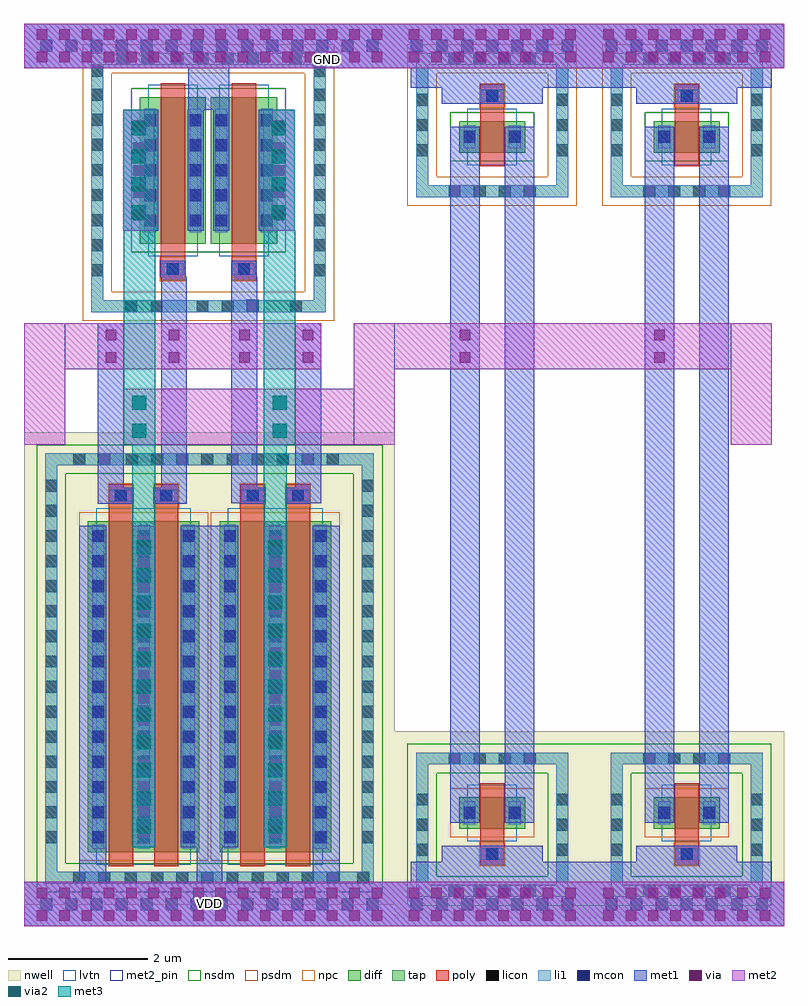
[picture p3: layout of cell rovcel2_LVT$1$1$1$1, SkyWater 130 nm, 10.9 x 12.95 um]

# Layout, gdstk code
from math import pi, radians
import gdstk
lib = gdstk.Library(unit=1e-6, precision=1e-09)
def R(c, l, rs):  # rectangles x0, y0, x1, y1
    for r in rs: c.add(gdstk.rectangle(r[:2], r[2:], *l))
def A(c, l, x, y, w, h, nx, ny, dx, dy):  # array of equal rectangles
    R(c, l, [(x+i*dx, y+j*dy, x+i*dx+w, y+j*dy+h) for i in range(nx) for j in range(ny)])
def P(c, l, *ps):  # polygons
    for p in ps: c.add(gdstk.Polygon(p, *l))
nwell = (64, 20)
diff = (65, 20)
tap = (65, 44)
poly = (66, 20)
licon = (66, 44)
li1 = (67, 20)
mcon = (67, 44)
met1 = (68, 20)
via = (68, 44)
met2_pin = (69, 16)
met2 = (69, 20)
via2 = (69, 44)
met3 = (70, 20)
nsdm = (93, 44)
psdm = (94, 20)
npc = (95, 20)
lvtn = (125, 44)

vias_gen_7_3_1_1_1_1 = lib.new_cell('vias_gen$7$3$1$1$1$1')

nfet_2_3_1_1_1_1 = lib.new_cell('nfet$2$3$1$1$1$1')

vias_gen_44_1_1_1_1 = lib.new_cell('vias_gen$44$1$1$1$1')

vias_gen_17_1_1_1_1 = lib.new_cell('vias_gen$17$1$1$1$1')
R(vias_gen_17_1_1_1_1, li1, [(0,0,2.79,0.64)])
A(vias_gen_17_1_1_1_1, mcon, 0.23, 0.235, 0.17, 0.17, 7, 1, 0.36, 0)
R(vias_gen_17_1_1_1_1, met1, [(0,0,2.79,0.64)])
A(vias_gen_17_1_1_1_1, via, 0.2, 0.085, 0.15, 0.15, 8, 2, 0.32, 0.32)
R(vias_gen_17_1_1_1_1, met2, [(0,0,2.79,0.64)])

vias_gen_15_1_1_1_1 = lib.new_cell('vias_gen$15$1$1$1$1')
R(vias_gen_15_1_1_1_1, li1, [(0,0,5.32,0.64)])
A(vias_gen_15_1_1_1_1, mcon, 0.235, 0.235, 0.17, 0.17, 14, 1, 0.36, 0)
R(vias_gen_15_1_1_1_1, met1, [(0,0,5.32,0.64)])
A(vias_gen_15_1_1_1_1, via, 0.185, 0.085, 0.15, 0.15, 16, 2, 0.32, 0.32)
R(vias_gen_15_1_1_1_1, met2, [(0,0,5.32,0.64)])

vias_gen_8_1_1_1_1 = lib.new_cell('vias_gen$8$1$1$1$1')
R(vias_gen_8_1_1_1_1, met1, [(0,0,0.66,0.42)])
R(vias_gen_8_1_1_1_1, via, [(0.095,0.135,0.245,0.285), (0.415,0.135,0.565,0.285)])
R(vias_gen_8_1_1_1_1, met2, [(0,0,0.66,0.42)])

pfet_5_1_1_1_1_1 = lib.new_cell('pfet$5$1$1$1$1$1')
R(pfet_5_1_1_1_1_1, nwell, [(-0.92,-0.945,1.87,1.735)])
R(pfet_5_1_1_1_1_1, diff, [(0,0,0.95,0.45)])
P(pfet_5_1_1_1_1_1, tap, [(-0.615,-0.64),(-0.615,1.26),(-0.445,1.26),(-0.445,-0.47),(1.395,-0.47),(1.395,1.26),(-0.615,1.26),(-0.615,1.43),(1.565,1.43),(1.565,-0.64)])
R(pfet_5_1_1_1_1_1, poly, [(0.3,-0.2,0.65,0.65), (0.3,0.65,0.65,0.98)])
A(pfet_5_1_1_1_1_1, licon, -0.15, -0.64, 0.17, 0.17, 4, 2, 0.36, 1.9)
A(pfet_5_1_1_1_1_1, licon, -0.615, -0.05, 0.17, 0.17, 1, 3, 0, 0.36)
A(pfet_5_1_1_1_1_1, licon, 1.395, -0.05, 0.17, 0.17, 1, 3, 0, 0.36)
R(pfet_5_1_1_1_1_1, licon, [(0.065,0.14,0.235,0.31), (0.715,0.14,0.885,0.31), (0.39,0.73,0.56,0.9)])
R(pfet_5_1_1_1_1_1, li1, [(0.065,0.06,0.235,0.39), (0.715,0.06,0.885,0.39), (0.31,0.73,0.64,0.9)])
P(pfet_5_1_1_1_1_1, li1, [(-0.615,-0.64),(-0.615,1.26),(-0.445,1.26),(-0.445,-0.47),(1.395,-0.47),(1.395,1.26),(-0.615,1.26),(-0.615,1.43),(1.565,1.43),(1.565,-0.64)])
R(pfet_5_1_1_1_1_1, mcon, [(0.065,0.14,0.235,0.31), (0.715,0.14,0.885,0.31), (0.39,0.73,0.56,0.9)])
R(pfet_5_1_1_1_1_1, met1, [(0.005,0.08,0.295,0.37), (0.655,0.08,0.945,0.37), (0.29,0.7,0.66,0.93)])
P(pfet_5_1_1_1_1_1, nsdm, [(-0.74,-0.765),(-0.74,1.135),(-0.32,1.135),(-0.32,-0.345),(1.27,-0.345),(1.27,1.135),(-0.74,1.135),(-0.74,1.555),(1.69,1.555),(1.69,-0.765)])
R(pfet_5_1_1_1_1_1, psdm, [(-0.125,-0.125,1.075,0.575)])
R(pfet_5_1_1_1_1_1, npc, [(0.29,0.64,0.66,0.99)])
R(pfet_5_1_1_1_1_1, lvtn, [(0.12,-0.18,0.83,0.63)])

vias_gen_12_3_1_1_1_1 = lib.new_cell('vias_gen$12$3$1$1$1$1')
R(vias_gen_12_3_1_1_1_1, met2, [(0,0,0.45,0.8)])
R(vias_gen_12_3_1_1_1_1, via2, [(0.125,0.1,0.325,0.3), (0.125,0.5,0.325,0.7)])
R(vias_gen_12_3_1_1_1_1, met3, [(0,0,0.45,0.8)])

vias_gen_13_1_1_1_1 = lib.new_cell('vias_gen$13$1$1$1$1')
R(vias_gen_13_1_1_1_1, met1, [(0,0,4.61,0.33)])
A(vias_gen_13_1_1_1_1, via, 0.15, 0.09, 0.15, 0.15, 14, 1, 0.32, 0)
R(vias_gen_13_1_1_1_1, met2, [(0,0,4.61,0.33)])
A(vias_gen_13_1_1_1_1, via2, 0.205, 0.065, 0.2, 0.2, 11, 1, 0.4, 0)
R(vias_gen_13_1_1_1_1, met3, [(0,0,4.61,0.33)])

pfet_4_3_1_1_1_1 = lib.new_cell('pfet$4$3$1$1$1$1')
R(pfet_4_3_1_1_1_1, nwell, [(-0.305,-0.72,1.255,5.13)])
R(pfet_4_3_1_1_1_1, diff, [(0,0,0.95,4.75)])
R(pfet_4_3_1_1_1_1, poly, [(0.3,-0.53,0.65,-0.2), (0.3,-0.2,0.65,4.95)])
A(pfet_4_3_1_1_1_1, licon, 0.065, 0.13, 0.17, 0.17, 1, 13, 0, 0.36)
A(pfet_4_3_1_1_1_1, licon, 0.715, 0.13, 0.17, 0.17, 1, 13, 0, 0.36)
R(pfet_4_3_1_1_1_1, licon, [(0.39,-0.45,0.56,-0.28)])
R(pfet_4_3_1_1_1_1, li1, [(0.31,-0.45,0.64,-0.28), (0.065,0.05,0.235,4.7), (0.715,0.05,0.885,4.7)])
A(pfet_4_3_1_1_1_1, mcon, 0.065, 0.13, 0.17, 0.17, 1, 13, 0, 0.36)
A(pfet_4_3_1_1_1_1, mcon, 0.715, 0.13, 0.17, 0.17, 1, 13, 0, 0.36)
R(pfet_4_3_1_1_1_1, mcon, [(0.39,-0.45,0.56,-0.28)])
R(pfet_4_3_1_1_1_1, met1, [(0.29,-0.48,0.66,-0.25), (0.035,0.07,0.265,4.68), (0.685,0.07,0.915,4.68)])
R(pfet_4_3_1_1_1_1, psdm, [(-0.125,-0.125,1.075,4.875)])
R(pfet_4_3_1_1_1_1, npc, [(0.29,-0.54,0.66,-0.19)])
R(pfet_4_3_1_1_1_1, lvtn, [(0.12,-0.18,0.83,4.93)])

vias_gen_14_1_1_1_1 = lib.new_cell('vias_gen$14$1$1$1$1')
R(vias_gen_14_1_1_1_1, met1, [(0,0,0.37,0.66)])
R(vias_gen_14_1_1_1_1, via, [(0.11,0.095,0.26,0.245), (0.11,0.415,0.26,0.565)])
R(vias_gen_14_1_1_1_1, met2, [(0,0,0.37,0.66)])

nfet_7_1_1_1_1 = lib.new_cell('nfet$7$1$1$1$1')
R(nfet_7_1_1_1_1, diff, [(0,0,0.95,2.1)])
R(nfet_7_1_1_1_1, poly, [(0.3,-0.2,0.65,2.3), (0.3,2.3,0.65,2.63)])
A(nfet_7_1_1_1_1, licon, 0.065, 0.245, 0.17, 0.17, 1, 5, 0, 0.36)
A(nfet_7_1_1_1_1, licon, 0.715, 0.245, 0.17, 0.17, 1, 5, 0, 0.36)
R(nfet_7_1_1_1_1, licon, [(0.39,2.38,0.56,2.55)])
R(nfet_7_1_1_1_1, li1, [(0.065,0.165,0.235,1.935), (0.715,0.165,0.885,1.935), (0.31,2.38,0.64,2.55)])
A(nfet_7_1_1_1_1, mcon, 0.065, 0.245, 0.17, 0.17, 1, 5, 0, 0.36)
A(nfet_7_1_1_1_1, mcon, 0.715, 0.245, 0.17, 0.17, 1, 5, 0, 0.36)
R(nfet_7_1_1_1_1, mcon, [(0.39,2.38,0.56,2.55)])
R(nfet_7_1_1_1_1, met1, [(0.035,0.185,0.265,1.915), (0.685,0.185,0.915,1.915), (0.29,2.35,0.66,2.58)])
R(nfet_7_1_1_1_1, nsdm, [(-0.125,-0.125,1.075,2.225)])
R(nfet_7_1_1_1_1, npc, [(0.29,2.29,0.66,2.64)])
R(nfet_7_1_1_1_1, lvtn, [(0.12,-0.18,0.83,2.28)])

vias_gen_16_3_1_1_1_1 = lib.new_cell('vias_gen$16$3$1$1$1$1')
R(vias_gen_16_3_1_1_1_1, met1, [(0,0,1.73,0.45)])
A(vias_gen_16_3_1_1_1_1, via, 0.15, 0.15, 0.15, 0.15, 5, 1, 0.32, 0)
R(vias_gen_16_3_1_1_1_1, met2, [(0,0,1.73,0.45)])
A(vias_gen_16_3_1_1_1_1, via2, 0.165, 0.125, 0.2, 0.2, 4, 1, 0.4, 0)
R(vias_gen_16_3_1_1_1_1, met3, [(0,0,1.73,0.45)])

nfet_3_1_1_1_1 = lib.new_cell('nfet$3$1$1$1$1')
R(nfet_3_1_1_1_1, diff, [(0,0,0.95,0.45)])
P(nfet_3_1_1_1_1, tap, [(-0.615,-0.98),(-0.615,0.92),(-0.445,0.92),(-0.445,-0.81),(1.395,-0.81),(1.395,0.92),(-0.615,0.92),(-0.615,1.09),(1.565,1.09),(1.565,-0.98)])
R(nfet_3_1_1_1_1, poly, [(0.3,-0.53,0.65,-0.2), (0.3,-0.2,0.65,0.65)])
A(nfet_3_1_1_1_1, licon, -0.15, -0.98, 0.17, 0.17, 4, 2, 0.36, 1.9)
A(nfet_3_1_1_1_1, licon, -0.615, -0.39, 0.17, 0.17, 1, 3, 0, 0.36)
A(nfet_3_1_1_1_1, licon, 1.395, -0.39, 0.17, 0.17, 1, 3, 0, 0.36)
R(nfet_3_1_1_1_1, licon, [(0.39,-0.45,0.56,-0.28), (0.065,0.14,0.235,0.31), (0.715,0.14,0.885,0.31)])
R(nfet_3_1_1_1_1, li1, [(0.31,-0.45,0.64,-0.28), (0.065,0.06,0.235,0.39), (0.715,0.06,0.885,0.39)])
P(nfet_3_1_1_1_1, li1, [(-0.615,-0.98),(-0.615,0.92),(-0.445,0.92),(-0.445,-0.81),(1.395,-0.81),(1.395,0.92),(-0.615,0.92),(-0.615,1.09),(1.565,1.09),(1.565,-0.98)])
R(nfet_3_1_1_1_1, mcon, [(0.39,-0.45,0.56,-0.28), (0.065,0.14,0.235,0.31), (0.715,0.14,0.885,0.31)])
R(nfet_3_1_1_1_1, met1, [(0.29,-0.48,0.66,-0.25), (0.005,0.08,0.295,0.37), (0.655,0.08,0.945,0.37)])
R(nfet_3_1_1_1_1, nsdm, [(-0.125,-0.125,1.075,0.575)])
P(nfet_3_1_1_1_1, psdm, [(-0.74,-1.105),(-0.74,0.795),(-0.32,0.795),(-0.32,-0.685),(1.27,-0.685),(1.27,0.795),(-0.74,0.795),(-0.74,1.215),(1.69,1.215),(1.69,-1.105)])
R(nfet_3_1_1_1_1, npc, [(0.29,-0.54,0.66,-0.19)])
R(nfet_3_1_1_1_1, lvtn, [(0.12,-0.18,0.83,0.63)])

sky130_fd_sc_hd__inv_1_1 = lib.new_cell('sky130_fd_sc_hd__inv_1$1$1$1$1')

vias_gen_2_3_1_1_1_1 = lib.new_cell('vias_gen$2$3$1$1$1$1')

vias_gen_10_3_1_1_1_1 = lib.new_cell('vias_gen$10$3$1$1$1$1')

pfet_2_3_1_1_1_1 = lib.new_cell('pfet$2$3$1$1$1$1')

vias_gen_6_3_1_1_1_1 = lib.new_cell('vias_gen$6$3$1$1$1$1')

rovcel2_lvt_1_1_1_1 = lib.new_cell('rovcel2_LVT$1$1$1$1')
R(rovcel2_lvt_1_1_1_1, nwell, [(-2.45,-0.542,2.87,6.238)])
R(rovcel2_lvt_1_1_1_1, diff, [(-0.73,0.213,-0.575,4.963)])
R(rovcel2_lvt_1_1_1_1, tap, [(-2.145,-0.237,2.565,-0.067), (-2.145,-0.067,-1.975,5.933), (2.395,-0.067,2.565,5.933), (-2.145,5.763,2.395,5.933), (-1.975,5.763,1.915,5.933), (-1.485,7.958,-1.315,11.678), (-1.315,7.958,1.705,8.128), (1.705,7.958,1.875,11.678), (-1.315,11.508,1.705,11.678)])
A(rovcel2_lvt_1_1_1_1, licon, -1.385, -0.237, 0.17, 0.17, 3, 1, 0.38, 0)
A(rovcel2_lvt_1_1_1_1, licon, -0.265, -0.237, 0.17, 0.17, 7, 1, 0.36, 0)
A(rovcel2_lvt_1_1_1_1, licon, -2.145, 0.343, 0.17, 0.17, 1, 15, 0, 0.36)
A(rovcel2_lvt_1_1_1_1, licon, 2.395, 0.343, 0.17, 0.17, 1, 15, 0, 0.36)
A(rovcel2_lvt_1_1_1_1, licon, -0.625, 5.763, 0.17, 0.17, 8, 1, 0.36, 0)
A(rovcel2_lvt_1_1_1_1, licon, -1.485, 8.473, 0.17, 0.17, 1, 8, 0, 0.36)
A(rovcel2_lvt_1_1_1_1, licon, 1.705, 8.473, 0.17, 0.17, 1, 8, 0, 0.36)
A(rovcel2_lvt_1_1_1_1, licon, -0.335, 11.508, 0.17, 0.17, 3, 1, 0.36, 0)
R(rovcel2_lvt_1_1_1_1, licon, [(-1.745,-0.237,-1.575,-0.067), (2.33,-0.237,2.5,-0.067), (-1.745,5.763,-1.575,5.933), (-1.385,5.763,-1.215,5.933), (-0.99,5.763,-0.82,5.933), (-0.99,5.763,-0.82,5.933), (-0.995,7.958,-0.825,8.128), (-0.635,7.958,-0.465,8.128), (0.025,7.958,0.195,8.128), (0.385,7.958,0.555,8.128), (1.365,7.958,1.535,8.128), (0.745,7.963,0.915,8.133), (-1.485,11.338,-1.315,11.508), (1.705,11.338,1.875,11.508), (-1.12,11.508,-0.95,11.678), (-0.76,11.508,-0.59,11.678), (1.355,11.508,1.525,11.678), (0.745,11.513,0.915,11.683)])
R(rovcel2_lvt_1_1_1_1, li1, [(-2.145,-0.237,2.565,-0.067), (-2.145,-0.067,-1.975,5.933), (2.395,-0.067,2.565,5.933), (-2.145,5.763,2.395,5.933), (-1.485,7.958,-1.315,11.678), (-1.315,7.958,1.705,8.128), (1.705,7.958,1.875,11.678), (-0.95,11.458,1.5,11.628), (-1.315,11.508,1.705,11.678)])
R(rovcel2_lvt_1_1_1_1, met1, [(0.03,-0.217,0.39,4.893), (-1.66,-0.212,-1.27,4.893), (1.69,-0.212,2.08,4.893), (3.095,-0.212,8.275,0.073), (3.54,0.073,4.99,0.303), (6.33,0.073,7.78,0.303), (3.665,0.633,4.085,10.618), (4.445,0.633,4.865,10.618), (6.455,0.633,6.875,10.618), (7.235,0.633,7.655,10.618), (-1.39,5.213,-1.02,7.138), (-0.485,5.213,-0.115,7.138), (0.525,5.218,0.895,7.138), (1.44,5.218,1.81,7.138), (-0.485,7.798,-0.115,8.463), (0.525,7.798,0.895,8.463), (-0.095,10.858,0.495,11.463), (3.54,10.948,4.99,11.178), (6.33,10.948,7.78,11.178), (3.095,11.178,8.275,11.458)])
R(rovcel2_lvt_1_1_1_1, met2_pin, [(-2.45,-0.852,2.87,-0.212), (-1.9,-0.852,8.3,-0.212), (2.87,-0.852,5.66,-0.212), (5.66,-0.852,8.45,-0.212), (-2.45,6.058,-1.86,7.798), (2.28,6.058,2.87,7.798), (7.685,6.058,8.275,7.798), (7.685,7.138,8.275,7.798), (-2.45,11.458,2.87,12.098), (2.87,11.458,5.66,12.098), (5.66,11.458,8.45,12.098)])
R(rovcel2_lvt_1_1_1_1, met2, [(-2.45,-0.852,2.87,-0.212), (-2.45,6.058,-1.86,7.138), (-1.02,6.058,2.87,6.858), (7.685,6.058,8.275,7.798), (2.28,6.808,2.87,7.798), (-2.45,7.138,1.81,7.798), (2.87,7.138,8.275,7.798), (-2.45,11.458,2.87,12.098)])
R(rovcel2_lvt_1_1_1_1, met3, [(-0.9,4.893,-0.57,6.058), (0.99,4.893,1.32,6.058), (-1.02,6.808,-0.57,9.128), (0.99,6.808,1.44,9.128)])
R(rovcel2_lvt_1_1_1_1, nsdm, [(5.48,-0.552,5.865,1.768), (-2.27,-0.362,2.695,0.058), (-2.27,0.058,-1.85,5.638), (2.275,0.058,2.695,5.638), (2.275,0.058,2.695,5.638), (-2.27,5.638,2.695,6.058), (-1.87,5.638,2.695,6.058), (-1.87,5.638,2.695,6.058), (-1.87,5.638,2.695,6.058)])
R(rovcel2_lvt_1_1_1_1, psdm, [(-1.61,7.833,-1.19,11.803), (-1.19,7.833,1.58,8.253), (1.58,7.833,2,11.803), (-1.19,11.383,1.58,11.803)])
rovcel2_lvt_1_1_1_1.add(gdstk.Reference(vias_gen_7_3_1_1_1_1, (-5.965,-3.4), rotation=pi/2))
rovcel2_lvt_1_1_1_1.add(gdstk.Reference(vias_gen_7_3_1_1_1_1, (-3.955,-3.4), rotation=pi/2))
rovcel2_lvt_1_1_1_1.add(gdstk.Reference(nfet_2_3_1_1_1_1, (-4.205,-3.585), rotation=pi, x_reflection=True))
rovcel2_lvt_1_1_1_1.add(gdstk.Reference(nfet_2_3_1_1_1_1, (-5.225,-3.585), rotation=pi, x_reflection=True))
rovcel2_lvt_1_1_1_1.add(gdstk.Reference(vias_gen_44_1_1_1_1, (-7.845,-4.64)))
rovcel2_lvt_1_1_1_1.add(gdstk.Reference(vias_gen_17_1_1_1_1, (5.66,-0.212), x_reflection=True))
rovcel2_lvt_1_1_1_1.add(gdstk.Reference(vias_gen_15_1_1_1_1, (-2.45,-0.212), x_reflection=True))
rovcel2_lvt_1_1_1_1.add(gdstk.Reference(vias_gen_17_1_1_1_1, (2.87,-0.212), x_reflection=True))
rovcel2_lvt_1_1_1_1.add(gdstk.Reference(vias_gen_17_1_1_1_1, (2.87,12.098), x_reflection=True))
rovcel2_lvt_1_1_1_1.add(gdstk.Reference(vias_gen_8_1_1_1_1, (4.085,7.798), rotation=3*pi/2, x_reflection=True))
rovcel2_lvt_1_1_1_1.add(gdstk.Reference(vias_gen_8_1_1_1_1, (6.875,7.798), rotation=3*pi/2, x_reflection=True))
rovcel2_lvt_1_1_1_1.add(gdstk.Reference(pfet_5_1_1_1_1_1, (3.79,1.003), x_reflection=True))
rovcel2_lvt_1_1_1_1.add(gdstk.Reference(vias_gen_12_3_1_1_1_1, (0.99,6.858), x_reflection=True))
rovcel2_lvt_1_1_1_1.add(gdstk.Reference(vias_gen_13_1_1_1_1, (1.32,4.893), rotation=3*pi/2, x_reflection=True))
rovcel2_lvt_1_1_1_1.add(gdstk.Reference(pfet_4_3_1_1_1_1, (-1.535,4.963), x_reflection=True))
rovcel2_lvt_1_1_1_1.add(gdstk.Reference(vias_gen_13_1_1_1_1, (-0.57,4.893), rotation=3*pi/2, x_reflection=True))
rovcel2_lvt_1_1_1_1.add(gdstk.Reference(vias_gen_12_3_1_1_1_1, (-1.02,6.858), x_reflection=True))
rovcel2_lvt_1_1_1_1.add(gdstk.Reference(pfet_4_3_1_1_1_1, (1.005,4.963), x_reflection=True))
rovcel2_lvt_1_1_1_1.add(gdstk.Reference(vias_gen_14_1_1_1_1, (0.525,7.798), x_reflection=True))
rovcel2_lvt_1_1_1_1.add(gdstk.Reference(pfet_4_3_1_1_1_1, (-0.885,4.963), x_reflection=True))
rovcel2_lvt_1_1_1_1.add(gdstk.Reference(vias_gen_15_1_1_1_1, (-2.45,12.098), x_reflection=True))
rovcel2_lvt_1_1_1_1.add(gdstk.Reference(vias_gen_14_1_1_1_1, (-0.485,7.798), x_reflection=True))
rovcel2_lvt_1_1_1_1.add(gdstk.Reference(vias_gen_14_1_1_1_1, (1.44,7.798), x_reflection=True))
rovcel2_lvt_1_1_1_1.add(gdstk.Reference(vias_gen_14_1_1_1_1, (-1.39,7.798), x_reflection=True))
rovcel2_lvt_1_1_1_1.add(gdstk.Reference(pfet_4_3_1_1_1_1, (0.355,4.963), x_reflection=True))
rovcel2_lvt_1_1_1_1.add(gdstk.Reference(nfet_7_1_1_1_1, (0.16,11.043), rotation=pi))
rovcel2_lvt_1_1_1_1.add(gdstk.Reference(vias_gen_16_3_1_1_1_1, (1.43,10.858), rotation=3*pi/2, x_reflection=True))
rovcel2_lvt_1_1_1_1.add(gdstk.Reference(vias_gen_16_3_1_1_1_1, (-0.58,10.858), rotation=3*pi/2, x_reflection=True))
rovcel2_lvt_1_1_1_1.add(gdstk.Reference(nfet_3_1_1_1_1, (3.79,10.698), x_reflection=True))
rovcel2_lvt_1_1_1_1.add(gdstk.Reference(vias_gen_17_1_1_1_1, (5.66,12.098), x_reflection=True))
rovcel2_lvt_1_1_1_1.add(gdstk.Reference(pfet_5_1_1_1_1_1, (6.58,1.003), x_reflection=True))
rovcel2_lvt_1_1_1_1.add(gdstk.Reference(nfet_3_1_1_1_1, (6.58,10.698), x_reflection=True))
rovcel2_lvt_1_1_1_1.add(gdstk.Reference(nfet_7_1_1_1_1, (1.18,11.043), rotation=pi))
rovcel2_lvt_1_1_1_1.add(gdstk.Reference(sky130_fd_sc_hd__inv_1_1, (-4.995,0.2)))
rovcel2_lvt_1_1_1_1.add(gdstk.Reference(vias_gen_2_3_1_1_1_1, (-4.395,0.6)))
rovcel2_lvt_1_1_1_1.add(gdstk.Reference(vias_gen_10_3_1_1_1_1, (-4.065,2.565), rotation=pi/2))
rovcel2_lvt_1_1_1_1.add(gdstk.Reference(pfet_2_3_1_1_1_1, (-6.92,2.495)))
rovcel2_lvt_1_1_1_1.add(gdstk.Reference(vias_gen_10_3_1_1_1_1, (-5.955,2.565), rotation=pi/2))
rovcel2_lvt_1_1_1_1.add(gdstk.Reference(vias_gen_2_3_1_1_1_1, (-6.405,0.6)))
rovcel2_lvt_1_1_1_1.add(gdstk.Reference(pfet_2_3_1_1_1_1, (-4.38,2.49)))
rovcel2_lvt_1_1_1_1.add(gdstk.Reference(vias_gen_6_3_1_1_1_1, (-4.86,-0.34)))
rovcel2_lvt_1_1_1_1.add(gdstk.Reference(pfet_2_3_1_1_1_1, (-6.27,2.495)))
rovcel2_lvt_1_1_1_1.add(gdstk.Reference(vias_gen_6_3_1_1_1_1, (-5.87,-0.34)))
rovcel2_lvt_1_1_1_1.add(gdstk.Reference(vias_gen_6_3_1_1_1_1, (-3.945,-0.34)))
rovcel2_lvt_1_1_1_1.add(gdstk.Reference(vias_gen_6_3_1_1_1_1, (-6.775,-0.34)))
rovcel2_lvt_1_1_1_1.add(gdstk.Reference(pfet_2_3_1_1_1_1, (-5.03,2.49)))
rovcel2_lvt_1_1_1_1.add(gdstk.Reference(vias_gen_44_1_1_1_1, (-7.835,7.67)))
rovcel2_lvt_1_1_1_1.add(gdstk.Label('GND', (1.905,11.588), layer=69, texttype=5))
rovcel2_lvt_1_1_1_1.add(gdstk.Label('VDD', (0.21,-0.527), layer=69, texttype=5))

lib.write_gds('rovcel2_LVT_1_1_1_1.gds')
